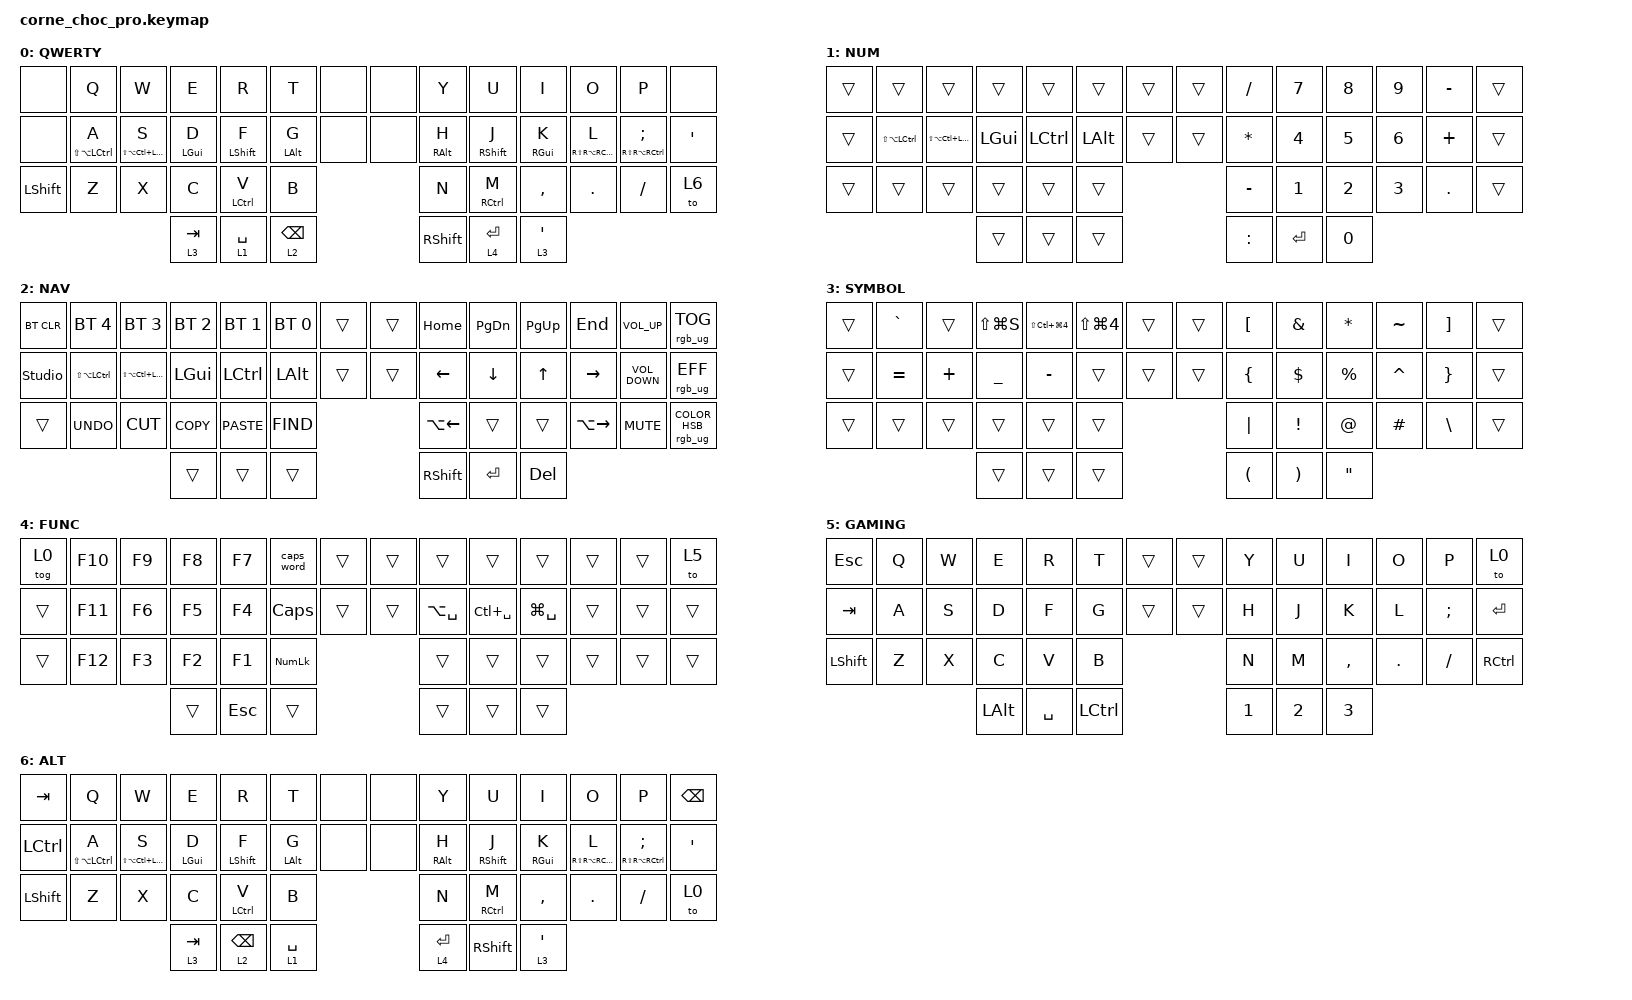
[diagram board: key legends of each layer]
/*
 * Copyright (c) 2020 The ZMK Contributors
 *
 * SPDX-License-Identifier: MIT
 */

#include <behaviors.dtsi>
#include <dt-bindings/zmk/bt.h>
#include <dt-bindings/zmk/keys.h>
#include <dt-bindings/zmk/rgb.h>

/ {
    chosen { zmk,physical-layout = &default_layout; };
};

/ {
    behaviors {
        TLT: TLT {
            compatible = "zmk,behavior-hold-tap";
            label = "TLT";
            bindings = <&mo>, <&kp>;

            #binding-cells = <2>;
            tapping-term-ms = <200>;
            quick-tap-ms = <175>;
            flavor = "tap-preferred";
        };

        HRM_R: HRM_R {
            compatible = "zmk,behavior-hold-tap";
            label = "HRM_R";
            bindings = <&kp>, <&kp>;

            #binding-cells = <2>;
            tapping-term-ms = <200>;
            quick-tap-ms = <175>;
            flavor = "tap-preferred";
            hold-trigger-on-release;
            hold-trigger-key-positions = <0 1 2 3 4 5 14 15 16 17 18 19 28 29 30 31 32 33 40 41 42>;
        };

        HRM_L: HRM_L {
            compatible = "zmk,behavior-hold-tap";
            label = "HRM_L";
            bindings = <&kp>, <&kp>;

            #binding-cells = <2>;
            tapping-term-ms = <200>;
            quick-tap-ms = <175>;
            flavor = "tap-preferred";
            hold-trigger-on-release;
            hold-trigger-key-positions = <8 9 10 11 12 13 22 23 24 25 26 27 34 35 36 37 38 39 43 44 45>;
        };

        HMS_R: HMS_R {
            compatible = "zmk,behavior-hold-tap";
            label = "HMS_R";
            bindings = <&kp>, <&kp>;

            #binding-cells = <2>;
            tapping-term-ms = <200>;
            quick-tap-ms = <175>;
            flavor = "hold-preferred";
            hold-trigger-on-release;
            hold-trigger-key-positions = <0 1 2 3 4 5 14 15 16 17 18 19 28 29 30 31 32 33 40 41 42>;
            hold-while-undecided;
        };

        HMS_L: HMS_L {
            compatible = "zmk,behavior-hold-tap";
            label = "HMS_L";
            bindings = <&kp>, <&kp>;

            #binding-cells = <2>;
            tapping-term-ms = <200>;
            quick-tap-ms = <175>;
            flavor = "hold-preferred";
            hold-trigger-on-release;
            hold-trigger-key-positions = <8 9 10 11 12 13 22 23 24 25 26 27 34 35 36 37 38 39 43 44 45>;
            hold-while-undecided;
        };
    };

    keymap {
        compatible = "zmk,keymap";

        MAIN {
            display-name = "QWERTY";
            bindings = <
&none      &kp Q                   &kp W                          &kp E              &kp R           &kp T              &none  &none  &kp Y               &kp U           &kp I               &kp O                           &kp P                      &none
&none      &HRM_L LS(LA(LCTRL)) A  &HRM_L LS(LA(LC(LEFT_GUI))) S  &HRM_L LEFT_GUI D  &HMS_L LSHFT F  &HRM_L LEFT_ALT G  &none  &none  &HRM_R RIGHT_ALT H  &HMS_R RSHFT J  &HRM_R RIGHT_GUI K  &HRM_R RS(RA(RC(RIGHT_GUI))) L  &HRM_R RS(RA(RCTRL)) SEMI  &kp SQT
&kp LSHFT  &kp Z                   &kp X                          &kp C              &HRM_L LCTRL V  &kp B                            &kp N               &HRM_R RCTRL M  &kp COMMA           &kp DOT                         &kp FSLH                   &to 6
                                                                  &TLT 3 TAB         &TLT 1 SPACE    &TLT 2 BACKSPACE                 &kp RIGHT_SHIFT     &TLT 4 ENTER    &TLT 3 APOS
            >;
        };

        NUM {
            display-name = "NUM";
            bindings = <
&trans  &trans             &trans                    &trans    &trans     &trans    &trans  &trans  &kp FSLH   &kp N7   &kp N8  &kp N9  &kp MINUS  &trans
&trans  &kp LS(LA(LCTRL))  &kp LS(LA(LC(LEFT_GUI)))  &kp LGUI  &kp LCTRL  &kp LALT  &trans  &trans  &kp STAR   &kp N4   &kp N5  &kp N6  &kp PLUS   &trans
&trans  &trans             &trans                    &trans    &trans     &trans                    &kp MINUS  &kp N1   &kp N2  &kp N3  &kp DOT    &trans
                                                     &trans    &trans     &trans                    &kp COLON  &kp RET  &kp N0
            >;
        };

        NAV {
            display-name = "NAV";
            bindings = <
&bt BT_CLR      &bt BT_SEL 4       &bt BT_SEL 3          &bt BT_SEL 2  &bt BT_SEL 1  &bt BT_SEL 0  &trans  &trans  &kp HOME      &kp PG_DN  &kp PG_UP  &kp END        &kp C_VOLUME_UP    &rgb_ug RGB_TOG
&studio_unlock  &kp LS(LA(LCTRL))  &kp LS(LA(LC(LGUI)))  &kp LGUI      &kp LCTRL     &kp LALT      &trans  &trans  &kp LEFT      &kp DOWN   &kp UP     &kp RIGHT      &kp C_VOLUME_DOWN  &rgb_ug RGB_EFF
&trans          &kp K_UNDO         &kp K_CUT             &kp K_COPY    &kp K_PASTE   &kp K_FIND                    &kp LA(LEFT)  &trans     &trans     &kp LA(RIGHT)  &kp K_MUTE         &rgb_ug RGB_COLOR_HSB(227,82,38)
                                                         &trans        &trans        &trans                        &kp RSHFT     &kp RET    &kp DEL
            >;
        };

        SYMBOL {
            display-name = "SYMBOL";
            bindings = <
&trans  &kp GRAVE  &trans    &kp LS(LG(S))  &kp LS(LC(LG(NUMBER_4)))  &kp LS(LG(NUMBER_4))  &trans  &trans  &kp LBKT  &kp AMPS    &kp STAR   &kp TILDE  &kp RBKT  &trans
&trans  &kp EQUAL  &kp PLUS  &kp UNDER      &kp MINUS                 &trans                &trans  &trans  &kp LBRC  &kp DOLLAR  &kp PRCNT  &kp CARET  &kp RBRC  &trans
&trans  &trans     &trans    &trans         &trans                    &trans                                &kp PIPE  &kp EXCL    &kp AT     &kp HASH   &kp BSLH  &trans
                             &trans         &trans                    &trans                                &kp LPAR  &kp RPAR    &kp DQT
            >;
        };

        FUNC {
            display-name = "FUNC";
            bindings = <
&tog 0  &kp F10  &kp F9  &kp F8  &kp F7   &caps_word      &trans  &trans  &trans         &trans         &trans         &trans  &trans  &to 5
&trans  &kp F11  &kp F6  &kp F5  &kp F4   &kp CAPS        &trans  &trans  &kp LA(SPACE)  &kp LC(SPACE)  &kp LG(SPACE)  &trans  &trans  &trans
&trans  &kp F12  &kp F3  &kp F2  &kp F1   &kp KP_NUMLOCK                  &trans         &trans         &trans         &trans  &trans  &trans
                         &trans  &kp ESC  &trans                          &trans         &trans         &trans
            >;
        };

        GAMING {
            display-name = "GAMING";
            bindings = <
&kp ESC    &kp Q  &kp W  &kp E     &kp R      &kp T      &trans  &trans  &kp Y   &kp U   &kp I      &kp O    &kp P     &to 0
&kp TAB    &kp A  &kp S  &kp D     &kp F      &kp G      &trans  &trans  &kp H   &kp J   &kp K      &kp L    &kp SEMI  &kp ENTER
&kp LSHFT  &kp Z  &kp X  &kp C     &kp V      &kp B                      &kp N   &kp M   &kp COMMA  &kp DOT  &kp FSLH  &kp RCTRL
                         &kp LALT  &kp SPACE  &kp LCTRL                  &kp N1  &kp N2  &kp N3
            >;
        };

        ALT {
            display-name = "ALT";
            bindings = <
&kp TAB    &kp Q                   &kp W                          &kp E              &kp R             &kp T              &none  &none  &kp Y               &kp U            &kp I               &kp O                           &kp P                      &kp BSPC
&kp LCTRL  &HRM_L LS(LA(LCTRL)) A  &HRM_L LS(LA(LC(LEFT_GUI))) S  &HRM_L LEFT_GUI D  &HMS_L LSHIFT F   &HRM_L LEFT_ALT G  &none  &none  &HRM_R RIGHT_ALT H  &HMS_R RSHIFT J  &HRM_R RIGHT_GUI K  &HRM_R RS(RA(RC(RIGHT_GUI))) L  &HRM_R RS(RA(RCTRL)) SEMI  &kp SQT
&kp LSHFT  &kp Z                   &kp X                          &kp C              &HRM_L LCTRL V    &kp B                            &kp N               &HRM_R RCTRL M   &kp COMMA           &kp DOT                         &kp FSLH                   &to 0
                                                                  &TLT 3 TAB         &TLT 2 BACKSPACE  &TLT 1 SPACE                     &TLT 4 ENTER        &kp RIGHT_SHIFT  &TLT 3 APOS
            >;
        };
    };
};
